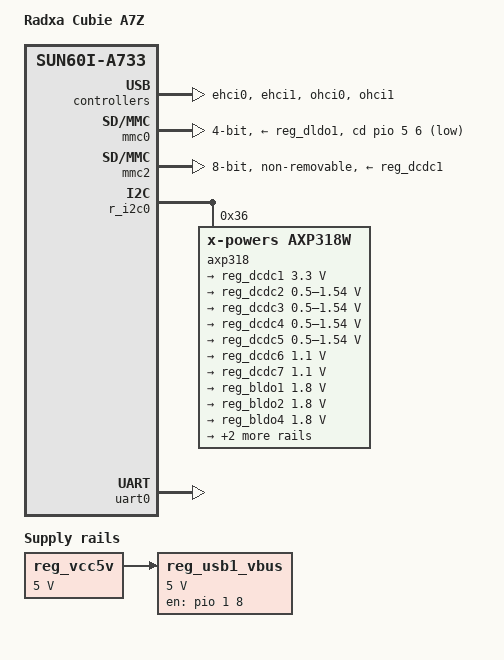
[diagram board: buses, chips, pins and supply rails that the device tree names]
// SPDX-License-Identifier: (GPL-2.0-only OR MIT)
/*
 * Copyright (C) 2026 Radxa Computer (Shenzhen) Co., Ltd.
 * Copyright (C) 2026 Alastair D'Silva <alastair@d-silva.org>
 */

/dts-v1/;

#include "sun60i-a733.dtsi"

#include <dt-bindings/gpio/gpio.h>

/ {
	model = "Radxa Cubie A7Z";
	compatible = "radxa,cubie-a7z", "allwinner,sun60i-a733";

	aliases {
		serial0 = &uart0;
	};

	chosen {
		stdout-path = "serial0:115200n8";
	};

	reg_vcc5v: regulator-vcc5v {
		compatible = "regulator-fixed";
		regulator-name = "vcc-5v";
		regulator-min-microvolt = <5000000>;
		regulator-max-microvolt = <5000000>;
		regulator-always-on;
	};

	reg_usb1_vbus: regulator-usb1-vbus {
		compatible = "regulator-fixed";
		regulator-name = "usb1-vbus";
		regulator-min-microvolt = <5000000>;
		regulator-max-microvolt = <5000000>;
		vin-supply = <&reg_vcc5v>;
		gpios = <&pio 1 8 GPIO_ACTIVE_HIGH>; /* PB8 */
		enable-active-high;
	};
};

&ehci0 {
	status = "okay";
};

&ehci1 {
	status = "okay";
};

&mmc0 {
	pinctrl-0 = <&mmc0_pins>;
	pinctrl-names = "default";
	vmmc-supply = <&reg_dldo1>;
	bus-width = <4>;
	cd-gpios = <&pio 5 6 GPIO_ACTIVE_LOW>; /* PF6 */
	status = "okay";
};

&mmc2 {
	pinctrl-0 = <&mmc2_pins>;
	pinctrl-names = "default";
	vmmc-supply = <&reg_dcdc1>;
	vqmmc-supply = <&reg_bldo1>;
	bus-width = <8>;
	non-removable;
	cap-mmc-hw-reset;
	status = "okay";
};

&ohci0 {
	status = "okay";
};

&ohci1 {
	status = "okay";
};

&r_i2c0 {
	status = "okay";

	/*
	 * FIXME: Vendor DTS uses "x-powers,axp8191" at @36; U-Boot currently
	 * binds "x-powers,axp318w" here. Verify PMIC register compatibility
	 * and LPDDR4 rail voltages on physical hardware.
	 */
	axp318: pmic@36 {
		compatible = "x-powers,axp318w", "x-powers,axp318";
		reg = <0x36>;

		regulators {
			reg_dcdc1: dcdc1 {
				regulator-name = "vcc-io";
				regulator-min-microvolt = <3300000>;
				regulator-max-microvolt = <3300000>;
				regulator-always-on;
			};

			reg_dcdc2: dcdc2 {
				regulator-name = "vdd-cpul";
				regulator-min-microvolt = <500000>;
				regulator-max-microvolt = <1540000>;
				regulator-always-on;
			};

			reg_dcdc3: dcdc3 {
				regulator-name = "vdd-cpub";
				regulator-min-microvolt = <500000>;
				regulator-max-microvolt = <1540000>;
				regulator-always-on;
			};

			reg_dcdc4: dcdc4 {
				regulator-name = "vdd-gpu";
				regulator-min-microvolt = <500000>;
				regulator-max-microvolt = <1540000>;
				regulator-always-on;
			};

			reg_dcdc5: dcdc5 {
				regulator-name = "vdd-sys";
				regulator-min-microvolt = <500000>;
				regulator-max-microvolt = <1540000>;
				regulator-always-on;
			};

			reg_dcdc6: dcdc6 {
				regulator-name = "vddq-lpddr4";
				regulator-min-microvolt = <1100000>;
				regulator-max-microvolt = <1100000>;
				regulator-always-on;
			};

			reg_dcdc7: dcdc7 {
				regulator-name = "vdd2-lpddr4";
				regulator-min-microvolt = <1100000>;
				regulator-max-microvolt = <1100000>;
				regulator-always-on;
			};

			reg_bldo1: bldo1 {
				regulator-name = "vcc-1v8-io";
				regulator-min-microvolt = <1800000>;
				regulator-max-microvolt = <1800000>;
				regulator-always-on;
			};

			reg_bldo2: bldo2 {
				regulator-name = "vdd1-lpddr4";
				regulator-min-microvolt = <1800000>;
				regulator-max-microvolt = <1800000>;
				regulator-always-on;
			};

			reg_bldo4: bldo4 {
				regulator-name = "vcc-1v8-audio";
				regulator-min-microvolt = <1800000>;
				regulator-max-microvolt = <1800000>;
			};

			reg_dldo1: dldo1 {
				regulator-name = "vcc-sd";
				regulator-min-microvolt = <3300000>;
				regulator-max-microvolt = <3300000>;
			};

			reg_eldo1: eldo1 {
				regulator-name = "vdd2h-lpddr4";
				regulator-min-microvolt = <1100000>;
				regulator-max-microvolt = <1100000>;
				regulator-always-on;
			};
		};
	};
};

&uart0 {
	pinctrl-0 = <&uart0_pb_pins>;
	pinctrl-names = "default";
	status = "okay";
};
